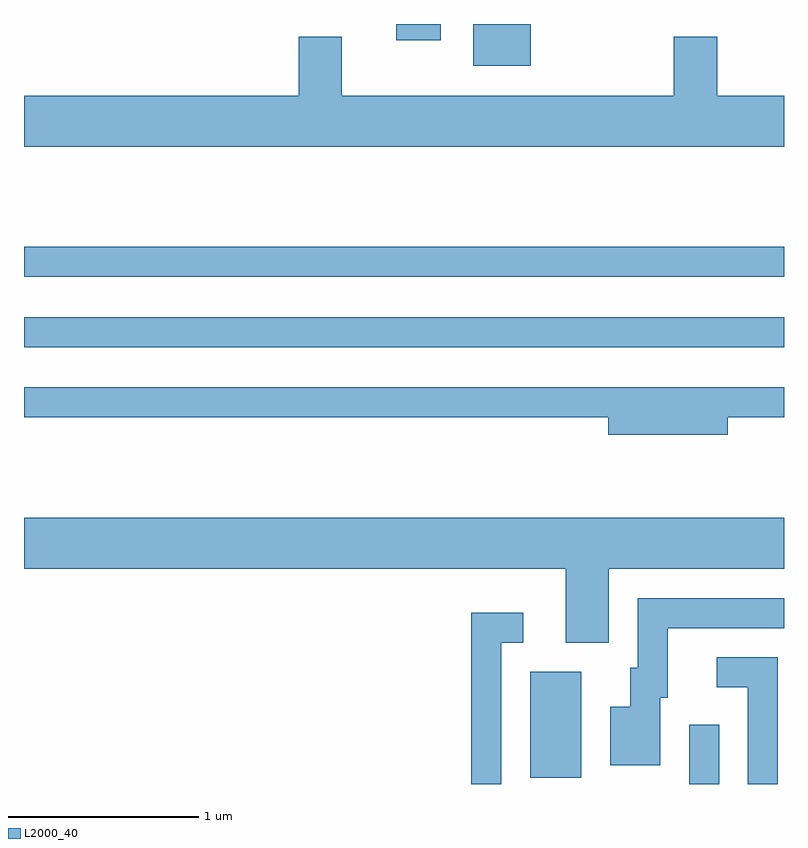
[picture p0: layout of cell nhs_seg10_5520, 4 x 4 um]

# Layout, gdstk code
import gdstk
lib = gdstk.Library(unit=1e-6, precision=1e-09)
def R(c, l, rs):  # rectangles x0, y0, x1, y1
    for r in rs: c.add(gdstk.rectangle(r[:2], r[2:], *l))
def P(c, l, *ps):  # polygons
    for p in ps: c.add(gdstk.Polygon(p, *l))
L2000_40 = (2000, 40)

nhs_seg10_5520 = lib.new_cell('nhs_seg10_5520')
R(nhs_seg10_5520, L2000_40, [(351.111,2150.522,351.269,2150.833), (350.276,2150.556,350.544,2151.114), (347.611,2152.821,351.611,2152.979), (347.611,2153.191,351.611,2153.349), (349.976,2154.301,350.279,2154.522), (349.571,2154.436,349.804,2154.522)])
P(nhs_seg10_5520, L2000_40, [(351.611,2154.144),(351.259,2154.144),(351.259,2154.454),(351.031,2154.454),(351.031,2154.144),(349.284,2154.144),(349.284,2154.454),(349.056,2154.454),(349.056,2154.144),(347.611,2154.144),(347.611,2153.876),(351.611,2153.876)],
  [(351.314,2152.451),(351.611,2152.451),(351.611,2152.609),(347.611,2152.609),(347.611,2152.451),(350.686,2152.451),(350.686,2152.361),(351.314,2152.361)],
  [(350.689,2151.656),(351.611,2151.656),(351.611,2151.924),(347.611,2151.924),(347.611,2151.656),(350.461,2151.656),(350.461,2151.266),(350.689,2151.266)],
  [(350.959,2150.976),(350.999,2150.976),(350.999,2151.341),(351.611,2151.341),(351.611,2151.499),(350.841,2151.499),(350.841,2151.134),(350.801,2151.134),(350.801,2150.929),(350.696,2150.929),(350.696,2150.621),(350.959,2150.621)],
  [(350.124,2151.266),(350.238,2151.266),(350.238,2151.424),(349.966,2151.424),(349.966,2150.522),(350.124,2150.522)],
  [(351.579,2151.189),(351.258,2151.189),(351.258,2151.031),(351.421,2151.031),(351.421,2150.522),(351.579,2150.522)])

lib.write_gds('nhs_seg10_5520.gds')
